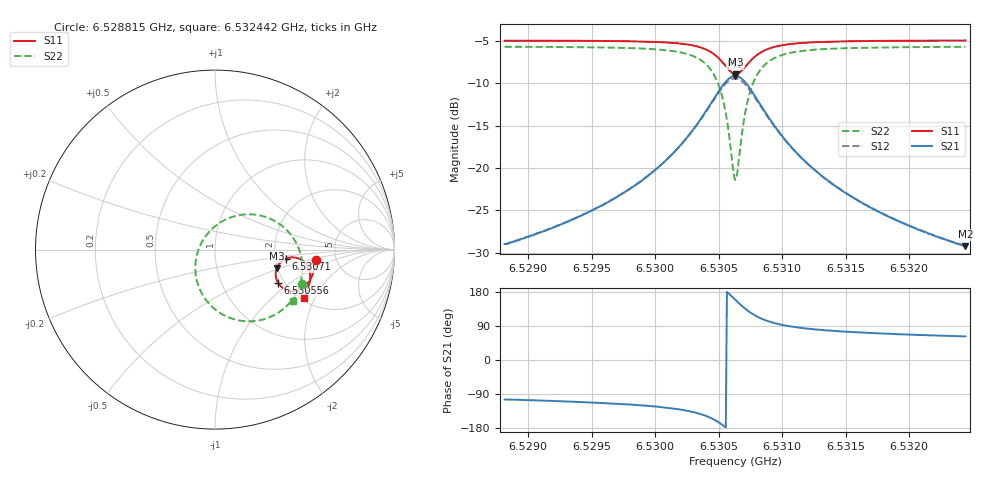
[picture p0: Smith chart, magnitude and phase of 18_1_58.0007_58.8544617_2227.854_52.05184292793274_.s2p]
#  HZ  S  RI  R  50.00
! Rohde & Schwarz Vector Network Analyzer
! Rohde-Schwarz,ZNB20-2Port,1311601062101988,3.16
! Created: UTC 3/21/2024, 12:51:03 AM
! freq[Hz]  re:S11  im:S11  re:S21  im:S21  re:S12  im:S12  re:S22  im:S22
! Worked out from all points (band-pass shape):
!   401 points, 6.528815 GHz to 6.532442 GHz, reference 50 ohm
!   highest |S21| = -9.14 dB at 6.530629 GHz (marker M1); lowest = -29.2 dB at 6.532442 GHz (marker M2)
!   |S21| within 3 dB of the highest: 6.530449 GHz to 6.530812 GHz (363.3 kHz wide, 0.00556 % of centre)
!   lowest |S11| = -8.9 dB at 6.530638 GHz (marker M3), VSWR 2.12, Z = 98.5 - j23.7 ohm
!   |S11| at or under -10 dB: nowhere
!   |S22| runs from -21.4 to -5.7 dB; largest |S21 - S12| = 0.015
!   S11 on the Smith chart (normalised r, x): 6.528815 GHz: 3.47, -0.60; 6.530556 GHz: 1.85, -0.82; 6.53071 GHz: 2.27, -0.28; 6.532442 GHz: 2.10, -1.66
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6.5288151e9  0.5609 -0.0591  -0.00873 -0.0344  -0.00942 -0.0342  0.4822 -0.1922
6.5294227e9  0.5516 -0.112  -0.0188 -0.0489  -0.0202 -0.0486  0.4494 -0.2541
6.5297763e9  0.5399 -0.1477  -0.0333 -0.0653  -0.0352 -0.0644  0.4123 -0.3013
6.5300302e9  0.5238 -0.1785  -0.0564 -0.0846  -0.059 -0.083  0.3605 -0.3461
6.5302478e9  0.4936 -0.2108  -0.1039 -0.1086  -0.1073 -0.1047  0.265 -0.39
6.530402e9  0.4435 -0.2303  -0.1842 -0.1158  -0.1869 -0.1074  0.1177 -0.3912
6.5304926e9  0.3917 -0.2216  -0.2656 -0.0825  -0.264 -0.0704  -0.0167 -0.318
6.5305289e9  0.3681 -0.2057  -0.3009 -0.0479  -0.2956 -0.0353  -0.069 -0.2522
6.5305561e9  0.3525 -0.1868  -0.3227 -0.0108  -0.3146 0.000985  -0.0977 -0.186
6.5306105e9  0.3379 -0.134  -0.3362 0.0863  -0.3228 0.0928  -0.0997 -0.0235
6.5306287e9  0.3406 -0.1144  -0.3276 0.1205  -0.3138 0.1247  -0.0792 0.0309
6.5306377e9  0.3434 -0.1049  -0.3209 0.1368  -0.307 0.1397  -0.0649 0.0565
6.5306559e9  0.352 -0.0871  -0.3027 0.167  -0.2895 0.1676  -0.0297 0.1023
6.5307103e9  0.393 -0.0513  -0.2262 0.2264  -0.217 0.2224  0.1072 0.1856
6.5307465e9  0.4232 -0.0434  -0.1724 0.2388  -0.1663 0.2343  0.1985 0.1966
6.5307828e9  0.4499 -0.0448  -0.1265 0.2362  -0.1224 0.2319  0.2758 0.1837
6.5309007e9  0.5024 -0.0745  -0.0377 0.1913  -0.0363 0.1894  0.4191 0.0872
6.5310276e9  0.523 -0.1084  -0.0023 0.1451  -0.00118 0.1444  0.4709 -0.00573
6.5312362e9  0.5305 -0.149  0.0146 0.0991  0.0159 0.0988  0.4871 -0.1018
6.5315264e9  0.527 -0.1875  0.0188 0.0666  0.0197 0.0663  0.4787 -0.1761
6.5318437e9  0.5182 -0.2194  0.0183 0.048  0.0191 0.0477  0.4631 -0.2258
6.5324422e9  0.4979 -0.2681  0.0161 0.0306  0.0168 0.0302  0.4318 -0.2873
